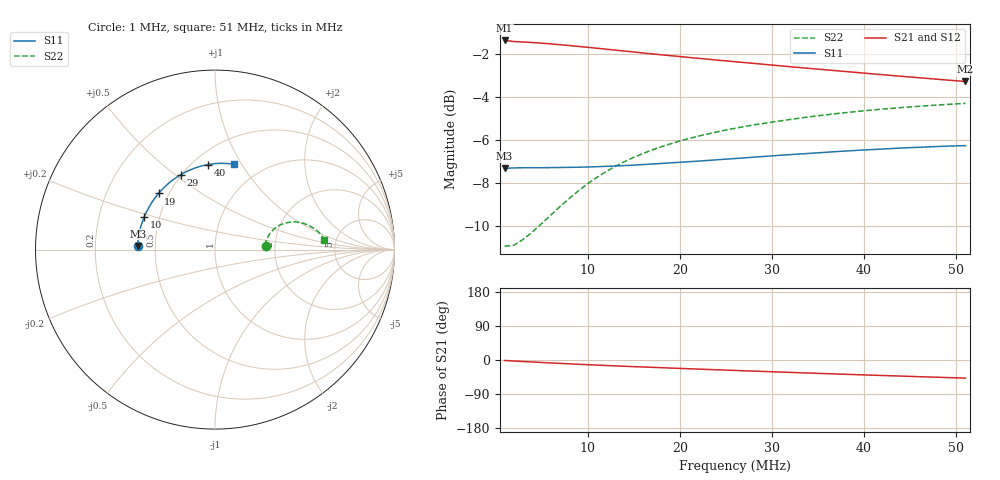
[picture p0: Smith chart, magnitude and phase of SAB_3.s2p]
# MHz S RI R 50
! S-Parameters data
! Freq  reS11  imS11  reS21  imS21  reS12  imS12  reS22  imS22
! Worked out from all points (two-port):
!   51 points, 1 MHz to 51 MHz, reference 50 ohm
!   highest |S21| = -1.36 dB at 1 MHz (marker M1); lowest = -3.3 dB at 51 MHz (marker M2)
!   |S21| within 3 dB of the highest: start of sweep to end of sweep
!   lowest |S11| = -7.3 dB at 1 MHz (marker M3), VSWR 2.51, Z = 19.9 + j1.01 ohm
!   |S11| at or under -10 dB: nowhere
!   |S22| runs from -10.9 to -4.3 dB; largest |S21 - S12| = 0.0028
!   S11 on the Smith chart (normalised r, x): 1 MHz: 0.40, +0.02; 10 MHz: 0.41, +0.18; 19 MHz: 0.44, +0.34; 29 MHz: 0.50, +0.52; 40 MHz: 0.59, +0.73; 51 MHz: 0.75, +0.93
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1  -0.4301 0.0206  0.8548 -0.0185  0.8541 -0.0181  0.2832 0.0219
2  -0.4303 0.0381  0.8491 -0.0398  0.8487 -0.0387  0.2826 0.0396
3  -0.4286 0.0565  0.8459 -0.0587  0.8455 -0.0576  0.2885 0.0583
5  -0.4223 0.0931  0.8373 -0.0956  0.8371 -0.0942  0.307 0.091
6  -0.4182 0.1111  0.8318 -0.1132  0.8317 -0.1115  0.3185 0.1047
8  -0.4078 0.1461  0.8192 -0.1459  0.8192 -0.1442  0.344 0.1265
10  -0.3949 0.1799  0.8053 -0.176  0.8053 -0.1741  0.3708 0.1406
12  -0.3805 0.212  0.7902 -0.2039  0.7903 -0.2017  0.3962 0.149
14  -0.3638 0.2428  0.7744 -0.2299  0.7751 -0.2272  0.4197 0.1527
16  -0.3455 0.2722  0.7589 -0.2517  0.7599 -0.2515  0.4401 0.1547
18  -0.3253 0.2998  0.7428 -0.2742  0.744 -0.274  0.4589 0.1532
19  -0.3146 0.3129  0.7346 -0.2853  0.7359 -0.285  0.4674 0.1519
23  -0.2682 0.3608  0.7017 -0.3257  0.7029 -0.3254  0.4973 0.1444
26  -0.2304 0.3914  0.6764 -0.353  0.678 -0.3528  0.5162 0.1373
29  -0.1907 0.4175  0.6509 -0.3783  0.6528 -0.3784  0.5324 0.1292
32  -0.1496 0.439  0.6249 -0.4016  0.6271 -0.4019  0.5468 0.1208
35  -0.1078 0.4558  0.5988 -0.4231  0.601 -0.4237  0.5602 0.1116
37  -0.0798 0.4646  0.5815 -0.4365  0.5836 -0.4371  0.5682 0.1051
40  -0.0379 0.474  0.5553 -0.4548  0.5574 -0.4555  0.5788 0.0952
43  0.00308 0.4792  0.5293 -0.4714  0.5315 -0.4723  0.5882 0.0848
47  0.0565 0.4801  0.4949 -0.4913  0.497 -0.4926  0.5988 0.0702
51  0.1069 0.4748  0.4612 -0.5084  0.463 -0.51  0.6079 0.0552
